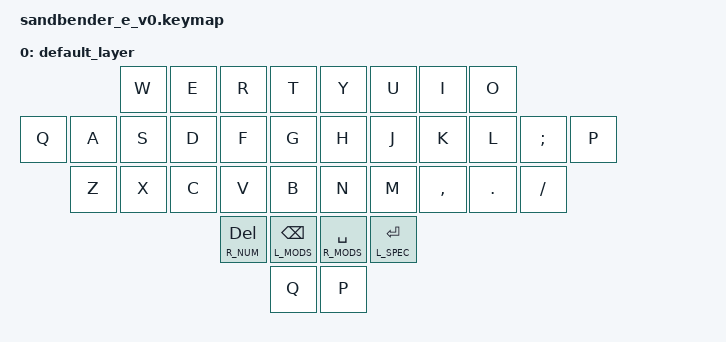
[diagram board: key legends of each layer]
// Copyright (c) 2022 The ZMK Contributors
// SPDX-License-Identifier: MIT

#include <behaviors.dtsi>
#include <dt-bindings/zmk/keys.h>
#include <dt-bindings/zmk/bt.h>

#define DEFAULT 0
#define L_MODS 1
#define R_MODS 2
#define R_NUM 3
#define L_SPEC 4
#define BT_CTL 5

/ {
    behaviors {
        ht: hold_tap {
            label = "hold_tap";
            compatible = "zmk,behavior-hold-tap";
            #binding-cells = <2>;
            flavor = "tap-preferred";
            tapping-term-ms = <150>;
            quick-tap-ms = <100>;
            global-quick-tap;
            bindings = <&kp>, <&kp>;
        };
    };

    keymap {
        compatible = "zmk,keymap";
        default_layer { // 0
            bindings = <
        //                      ╭──────────┬──────────┬──────────┬──────────╮   ╭──────────┬──────────┬──────────┬──────────╮
        //                      │  W       │  E       │  R       │  T       │   │  Y       │  U       │  I       │  O       │
                                  &kp W      &kp E      &kp R      &kp T          &kp Y      &kp U      &kp I      &kp O
        //╭─────────────────────┼──────────┼──────────┼──────────┼──────────┤   ├─────────────────────┼──────────┼──────────┼─────────────────────╮
        //│  Q       │  A       │  S       │  D       │  F       │  G       │   │  H       │  J       │  K       │  L       │ ' "      │  P       │
            &kp Q      &kp A       &kp S      &kp D      &kp F      &kp G          &kp H      &kp J      &kp K      &kp L     &kp SEMI    &kp P
        //╰──────────┼──────────┼──────────┼──────────┼──────────┼──────────┤   ├──────────┼──────────┼──────────┼──────────┼──────────┼──────────╯
        //           │  Z       │  X       │  C       │  V       │  B       │   │  N       │  M       │ , <      │ . >      │ / ?      │
                       &kp Z      &kp X      &kp C      &kp V      &kp B          &kp N      &kp M      &kp COMMA  &kp DOT    &kp FSLH
        //           ╰──────────┴──┬───────┴─────┬────┴──────────┼──────────╯   ╰─────┬────┴──────────┴┬─────────┴──────┬───┴──────────╯
                                    &lt R_NUM DEL &lt L_MODS BSPC                       &lt R_MODS SPACE &lt L_SPEC ENTER
        //                         ╰─────────────┴───────────────╯                    ╰────────────────┴────────────────╯
                                                                    &kp Q         &kp P
        //                         ╰─────────────┴───────────────╯                    ╰────────────────┴────────────────╯
            >;
        };

        // left_mods { // 1
        //     bindings = <
        // //╭──────────┬──────────┬──────────┬──────────┬──────────╮   ╭──────────┬──────────┬──────────┬──────────┬──────────╮
        // //│ XXXXXX   │  XXXXXX  │  XXXXXX  │  XXXXXX  │ bt lyr   │   │          │          │          │          │          │
        //     &none       &none      &none      &none     &mo BT_CTL     &trans     &trans     &trans     &trans     &trans
        // //├──────────┼──────────┼──────────┼──────────┼──────────┤   ├──────────┼──────────┼──────────┼──────────┼──────────┤
        // //│ Shift    │  Control │  GUI     │  Alt     │ Tab      │   │          │          │          │          │          │
        //     &sk LSHIFT  &sk LCTRL  &sk LGUI   &sk LALT  &kp TAB        &trans     &trans     &trans     &trans     &trans
        // //├──────────┼──────────┼──────────┼──────────┼──────────┤   ├──────────┼──────────┼──────────┼──────────┼──────────┤
        // //│ Escape   │  XXXXXX  │  XXXXXX  │  XXXXXX  │ XXXXXX   │   │          │          │          │          │          │
        //     &kp ESC     &none      &none      &none     &none          &trans     &trans     &trans     &trans     &trans
        // //╰──────────┴──────────┴──────────┼──────────┼──────────┤   ├──────────┼──────────┼──────────┴──────────┴──────────╯
        //                                     &none      &trans         &kp SPACE  &kp ENTER
        // //                                 ╰──────────┴──────────╯   ╰──────────┴──────────╯
        //     >;
        // };

        // right_mods { // 2
        //     bindings = <
        // //╭──────────┬──────────┬──────────┬──────────┬──────────╮   ╭──────────┬──────────┬──────────┬──────────┬──────────╮
        // //│          │          │          │          │          │   │ XXXXXX   |  XXXXXX  │  XXXXXX  │ XXXXXX   │ Caps Word│
        //     &trans     &trans     &trans     &trans     &trans         &none       &none      &none     &none      &caps_word
        // //├──────────┼──────────┼──────────┼──────────┼──────────┤   ├──────────┼──────────┼──────────┼──────────┼──────────┤
        // //│          │          │          │          │          │   │ Tab      │  Alt     │  GUI     │ Control  │ Shift    │
        //     &trans     &trans     &trans     &trans     &trans         &kp TAB    &sk RALT   &sk RGUI   &sk RCTRL &sk RSHIFT
        // //├──────────┼──────────┼──────────┼──────────┼──────────┤   ├──────────┼──────────┼──────────┼──────────┼──────────┤
        // //│          │          │          │          │          │   │  XXXXXX  │  XXXXXX  │  XXXXXX  │ XXXXXX   │ Escape   │
        //     &trans     &trans     &trans     &trans     &trans          &none      &none      &none     &none      &kp ESC
        // //╰──────────┴──────────┴──────────┼──────────┼──────────┤   ├──────────┼──────────┼──────────┴──────────┴──────────╯
        //                                      &kp DEL    &kp BSPC         &trans     &none
        // //                                 ╰──────────┴──────────╯   ╰──────────┴──────────╯
        //     >;
        // };

        // right_num { // 3
        //     bindings = <
        // //╭──────────┬──────────┬──────────┬──────────┬──────────╮   ╭──────────┬──────────┬──────────┬──────────┬──────────╮
        // //│ XXXXXX   │  XXXXXX  │  XXXXXX  │  XXXXXX  │ XXXXXX   │   │ XXXXXX   │ 7        │ 8        │ 9        │ Default  │
        //     &none       &none      &none      &none      &none          &none      &kp N7     &kp N8     &kp N9   &to DEFAULT
        // //├──────────┼──────────┼──────────┼──────────┼──────────┤   ├──────────┼──────────┼──────────┼──────────┼──────────┤
        // //│ Shift    │  Control │  GUI     │  Alt     │ Tab      │   │ XXXXXX   │ 4        │ 5        │ 6        │ Equals   │
        //    &sk LSHIFT  &sk LCTRL  &sk LGUI   &sk LALT   &kp TAB        &none      &kp N4     &kp N5     &kp N6     &kp EQUAL
        // //├──────────┼──────────┼──────────┼──────────┼──────────┤   ├──────────┼──────────┼──────────┼──────────┼──────────┤
        // //│ Escape   │  XXXXXX  │  XXXXXX  │  XXXXXX  │ XXXXXX   │   │ 0        │ 1        │ 2        │ 3        │ Minus    │
        //     &kp ESC     &none      &none      &none     &none          &kp N0     &kp N1     &kp N2     &kp N3     &kp MINUS
        // //╰──────────┴──────────┴──────────┼──────────┼──────────┤   ├──────────┼──────────┼──────────┴──────────┴──────────╯
        //                                      &trans     &none         &kp SPACE  &kp ENTER
        // //                                 ╰──────────┴──────────╯   ╰──────────┴──────────╯
        //     >;
        // };

        // left_special { // 4
        //     bindings = <
        // //╭──────────┬──────────┬──────────┬──────────┬──────────╮   ╭──────────┬──────────┬──────────┬──────────┬──────────╮
        // //│ XXXXXX   │ XXXXXX   │  Up      │ XXXXXX   │ Backslsh │   │  XXXXXX  │  XXXXXX  │  XXXXXX  │ XXXXXX   │ to R_Num │
        //     &none      &none       &kp UP     &none      &kp BSLH        &none      &none      &none    &none      &to R_NUM
        // //├──────────┼──────────┼──────────┼──────────┼──────────┤   ├──────────┼──────────┼──────────┼──────────┼──────────┤
        // //│ Grave    │ Left     │ Down     │ Right    │ XXXXXX   │   │  Tab     │  Alt     │  GUI     │ Control  │ Shift    │
        //     &kp GRAVE  &kp LEFT   &kp DOWN   &kp RIGHT  &none           &kp TAB    &sk RALT  &sk RGUI  &sk RCTRL  &sk RSHIFT
        // //├──────────┼──────────┼──────────┼──────────┼──────────┤   ├──────────┼──────────┼──────────┼──────────┼──────────┤
        // //│ Quote    │ [        │ ]       │  (       │  )        │   │  XXXXXX  │  XXXXXX  │  XXXXXX  │ XXXXXX   │ Escape   │
        //     &kp SQT    &kp LBKT   &kp RBKT   &kp LPAR   &kp RPAR        &none      &none      &none     &none      &kp ESC
        // //╰──────────┴──────────┴──────────┼──────────┼──────────┤   ├──────────┼──────────┼──────────┴──────────┴──────────╯
        //                                      &kp DEL    &kp BSPC         &none     &trans
        // //                                 ╰──────────┴──────────╯   ╰──────────┴──────────╯
        //     >;
        // };

        // bt_controls { // 5
        //     bindings = <
        // //╭──────────┬──────────┬──────────┬──────────┬──────────╮   ╭──────────────┬──────────────┬──────────────┬──────────────┬──────────────╮
        // //│ XXXXXX   │ XXXXXX   │ XXXXXX   │ XXXXXX   │          │   │ bt prof 0    │ bt prof 1    │ bt prof 2    │ bt prof      │ bt prof 4    │
        //     &none      &none      &none      &none      &trans         &bt BT_SEL 0   &bt BT_SEL 1   &bt BT_SEL 2   &bt BT_SEL 3   &bt BT_SEL 4
        // //├──────────┼──────────┼──────────┼──────────┼──────────┤   ├──────────────┼──────────────┼──────────────┼──────────────┼──────────────┤
        // //│ XXXXXX   │ XXXXXX   │ XXXXXX   │ XXXXXX   │ XXXXXX   │   │ XXXXXX       │ XXXXXX       │ XXXXXX       │ XXXXXX       │ XXXXXX       │
        //     &none      &none       &none     &none      &none          &none          &none          &none          &none          &none
        // //├──────────┼──────────┼──────────┼──────────┼──────────┤   ├──────────────┼──────────────┼──────────────┼──────────────┼──────────────┤
        // //│  XXXXXX  │ XXXXXX   │ XXXXXX   │ XXXXXX   │ XXXXXX   │   │ XXXXXX       │ XXXXXX       │ XXXXXX       │ XXXXXX       │ XXXXXX       │
        //     &none      &none       &none     &none      &none          &none          &none          &none          &none          &none
        // //╰──────────┴──────────┴──────────┼──────────┼──────────┤   ├──────────────┼──────────────┼──────────────┴──────────────┴──────────────╯
        //                                      &none      &trans         &none          &bt BT_CLR
        // //                                 ╰──────────┴──────────╯   ╰──────────────┴──────────────╯
        //     >;
        // };
    };
};
